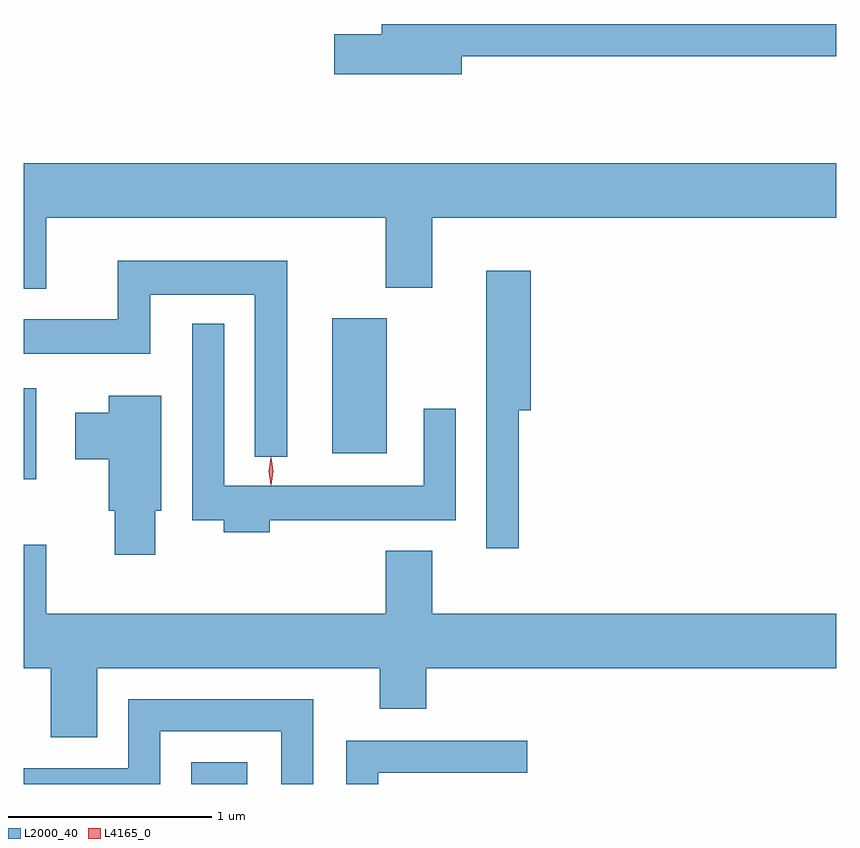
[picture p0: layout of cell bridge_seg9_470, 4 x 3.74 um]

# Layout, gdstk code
import gdstk
lib = gdstk.Library(unit=1e-6, precision=1e-09)
def R(c, l, rs):  # rectangles x0, y0, x1, y1
    for r in rs: c.add(gdstk.rectangle(r[:2], r[2:], *l))
def P(c, l, *ps):  # polygons
    for p in ps: c.add(gdstk.Polygon(p, *l))
L2000_40 = (2000, 40)
L4165_0 = (4165, 0)

bridge_seg9_470 = lib.new_cell('bridge_seg9_470')
R(bridge_seg9_470, L2000_40, [(620.451,1946.846,620.729,1946.954), (619.628,1948.346,619.689,1948.794), (621.146,1948.476,621.414,1949.139)])
P(bridge_seg9_470, L2000_40, [(621.784,1950.431),(623.628,1950.431),(623.628,1950.589),(621.391,1950.589),(621.391,1950.539),(621.156,1950.539),(621.156,1950.341),(621.784,1950.341)],
  [(619.739,1949.636),(621.411,1949.636),(621.411,1949.291),(621.639,1949.291),(621.639,1949.636),(623.628,1949.636),(623.628,1949.904),(619.628,1949.904),(619.628,1949.286),(619.739,1949.286)],
  [(620.924,1949.424),(620.091,1949.424),(620.091,1949.134),(619.628,1949.134),(619.628,1948.966),(620.249,1948.966),(620.249,1949.256),(620.766,1949.256),(620.766,1948.458),(620.924,1948.458)],
  [(622.064,1948.686),(622.124,1948.686),(622.124,1949.374),(621.906,1949.374),(621.906,1948.008),(622.064,1948.008)],
  [(620.839,1948.146),(621.754,1948.146),(621.754,1948.693),(621.596,1948.693),(621.596,1948.314),(620.614,1948.314),(620.614,1949.113),(620.456,1949.113),(620.456,1948.146),(620.611,1948.146),(620.611,1948.086),(620.839,1948.086)],
  [(620.274,1948.191),(620.304,1948.191),(620.304,1948.759),(620.046,1948.759),(620.046,1948.674),(619.881,1948.674),(619.881,1948.446),(620.046,1948.446),(620.046,1948.191),(620.076,1948.191),(620.076,1947.976),(620.274,1947.976)],
  [(619.989,1947.416),(621.381,1947.416),(621.381,1947.216),(621.609,1947.216),(621.609,1947.416),(623.628,1947.416),(623.628,1947.684),(621.639,1947.684),(621.639,1947.994),(621.411,1947.994),(621.411,1947.684),(619.739,1947.684),(619.739,1948.024),(619.628,1948.024),(619.628,1947.416),(619.761,1947.416),(619.761,1947.076),(619.989,1947.076)],
  [(620.299,1947.106),(620.896,1947.106),(620.896,1946.846),(621.054,1946.846),(621.054,1947.264),(620.141,1947.264),(620.141,1946.924),(619.628,1946.924),(619.628,1946.846),(620.299,1946.846)],
  [(621.374,1946.901),(622.108,1946.901),(622.108,1947.059),(621.216,1947.059),(621.216,1946.846),(621.374,1946.846)])
P(bridge_seg9_470, L4165_0, [(620.845,1948.317),(620.845,1948.318),(620.835,1948.387),(620.845,1948.456),(620.845,1948.456),(620.846,1948.456),(620.855,1948.387),(620.846,1948.318)],
  [(620.845,1948.319),(620.844,1948.32),(620.835,1948.386),(620.844,1948.452),(620.845,1948.453),(620.846,1948.452),(620.855,1948.386),(620.846,1948.32)])

lib.write_gds('bridge_seg9_470.gds')
